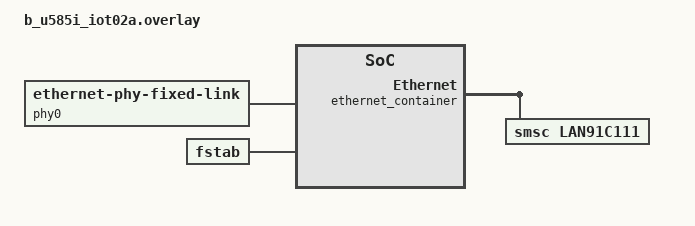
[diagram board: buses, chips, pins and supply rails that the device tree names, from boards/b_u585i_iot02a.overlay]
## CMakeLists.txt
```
# SPDX-License-Identifier: Apache-2.0

cmake_minimum_required(VERSION 3.20.0)

# Register OCRE as Zephyr extra module (must be before find_package)
get_filename_component(OCRE_BASE
    "${CMAKE_CURRENT_LIST_DIR}/../ocre-workspace/ocre-runtime"
    REALPATH)
list(APPEND ZEPHYR_EXTRA_MODULES ${OCRE_BASE})

find_package(Zephyr REQUIRED HINTS $ENV{ZEPHYR_BASE})
project(wasmbed)

target_sources(app PRIVATE
    src/main.c
    src/ocre_integration.c
    src/wasmbed_protocol.c
    src/network_handler.c
)

target_link_libraries(app PUBLIC OcreCore)
```

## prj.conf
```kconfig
# SPDX-License-Identifier: Apache-2.0
# Zephyr configuration for Wasmbed application
# Based on working dhcpv4_client sample

# Network stack (from dhcpv4_client - working configuration)
CONFIG_NETWORKING=y
CONFIG_NET_IPV4=y
CONFIG_NET_TCP=y
CONFIG_NET_SOCKETS=y
CONFIG_NET_DHCPV4=y
CONFIG_NET_L2_ETHERNET_MGMT=y
CONFIG_NET_MGMT=y
CONFIG_NET_MGMT_EVENT=y

# Random number generator (required for network stack)
CONFIG_TEST_RANDOM_GENERATOR=y
CONFIG_ENTROPY_GENERATOR=y

# Logging (from dhcpv4_client - working configuration)
CONFIG_NET_LOG=y
CONFIG_LOG=y
# Note: NOT using CONFIG_LOG_MODE_IMMEDIATE - this might cause issues

# Network shell (useful for debugging)
CONFIG_NET_SHELL=y

# TLS support (for Wasmbed)
CONFIG_MBEDTLS=y
CONFIG_MBEDTLS_BUILTIN=y
CONFIG_MBEDTLS_ENABLE_HEAP=y
CONFIG_NET_SOCKETS_SOCKOPT_TLS=y

# Enable ECDHE-ECDSA cipher suite (gateway now uses ECDSA P-256 certificate)
# Keep RSA enabled for compatibility during transition
CONFIG_MBEDTLS_KEY_EXCHANGE_RSA_ENABLED=y
CONFIG_MBEDTLS_KEY_EXCHANGE_ECDHE_RSA_ENABLED=y
CONFIG_MBEDTLS_KEY_EXCHANGE_ECDHE_ECDSA_ENABLED=y
CONFIG_MBEDTLS_ECDH_C=y
CONFIG_MBEDTLS_ECDSA_C=y
CONFIG_MBEDTLS_ECP_C=y
CONFIG_MBEDTLS_ECP_DP_SECP256R1_ENABLED=y
CONFIG_MBEDTLS_ECP_DP_SECP384R1_ENABLED=y
CONFIG_MBEDTLS_CIPHER_GCM_ENABLED=y
CONFIG_MBEDTLS_HASH_SHA384_ENABLED=y
CONFIG_MBEDTLS_HASH_SHA512_ENABLED=y
CONFIG_MBEDTLS_MAC_SHA384_ENABLED=y
CONFIG_MBEDTLS_MAC_SHA512_ENABLED=y

# Memory management
CONFIG_HEAP_MEM_POOL_SIZE=4096

# TLS heap for MbedTLS: RSA-2048 ServerKeyExchange verification needs ~22KB peak
# (SSL buffers 2*4096 + handshake overhead ~10KB, then RSA-2048 MPI ops ~12KB).
# 16KB caused MBEDTLS_ERR_MPI_ALLOC_FAILED; 32KB gives enough headroom.
CONFIG_MBEDTLS_HEAP_SIZE=32768

# Increase TLS record buffer: default 1500 is too small for RSA-2048 cert from
# Rustls gateway (cert ~1305 DER bytes + handshake overhead > 1500). Increasing
# to 4096 allows the combined Certificate+ServerKeyExchange record to be parsed.
CONFIG_MBEDTLS_SSL_MAX_CONTENT_LEN=4096

# Threading
CONFIG_MULTITHREADING=y

# Main stack size: 4KB needed for WAMR module instantiation (wasm_runtime_instantiate
# calls several layers of internal functions that overflow the 2KB default).
CONFIG_MAIN_STACK_SIZE=4096

# Increase TCP workqueue stack size for TLS ECDHE operations (default 1024 is too small)
CONFIG_NET_TCP_WORKQ_STACK_SIZE=4096

# UART for logging
CONFIG_SERIAL=y
CONFIG_UART_INTERRUPT_DRIVEN=y

# Device drivers
CONFIG_GPIO=y
CONFIG_I2C=y
CONFIG_SPI=y

# POSIX API disabled: struct timespec è già risolto con #include <time.h>
# in platform_internal.h (patch Zephyr 3.5). POSIX_API=y causa eof nei
# TLS handshake Zephyr perché ridefinisce le socket ops in modo incompatibile.
CONFIG_POSIX_API=n

# Enable file system layer so WAMR zephyr_file.c links (fs_stat, fs_open, etc.)
# WAMR WASI includes file ops even when only sockets are used at runtime.
CONFIG_FILE_SYSTEM=y

# Note: NOT disabling MPU - dhcpv4_client works with MPU enabled
# CONFIG_ARM_MPU=n  # Removed - dhcpv4_client works with MPU
# --- Mutual TLS and proof of possession -------------------------------------
# The device presents a client certificate signed by the fleet CA and verifies
# the gateway against that same CA. Three credentials are registered under one
# security tag (CA, own certificate, private key); see
# network_set_tls_credentials in src/network_handler.c.
CONFIG_TLS_CREDENTIALS=y
CONFIG_TLS_MAX_CREDENTIALS_NUMBER=4

# mbedtls_pk_sign needs an RNG for ECDSA, and PK_WRITE for the DER signature.
# SHA-256 and PK parsing come from the TLS profile already (MAC_SHA256 below,
# PK_PARSE_C via X509_CRT_PARSE_C in config-tls-generic.h).
CONFIG_MBEDTLS_PK_WRITE_C=y
CONFIG_MBEDTLS_CTR_DRBG_ENABLED=y
CONFIG_MBEDTLS_ENTROPY_ENABLED=y
CONFIG_MBEDTLS_MAC_SHA256_ENABLED=y

# RFC 6979 deterministic ECDSA nonce: no entropy source is registered with
# mbedTLS on this board, and under Renode the platform generator is the test
# generator. A predictable nonce would disclose the private key.
CONFIG_MBEDTLS_ECDSA_DETERMINISTIC=y
# Prerequisite of deterministic ECDSA: RFC 6979 derives the nonce with HMAC-DRBG.
CONFIG_MBEDTLS_HMAC_DRBG_ENABLED=y
```

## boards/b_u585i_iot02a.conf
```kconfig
# Renode board overlay — SMSC LAN91C111 (Network.SMC91X) Ethernet
# ETH_SMSC91X auto-selected via DT_HAS_SMSC_LAN91C111_ENABLED
# PHY_GENERIC_FIXED_LINK auto-selected via DT_HAS_ETHERNET_PHY_FIXED_LINK_ENABLED
CONFIG_NET_L2_ETHERNET=y
```

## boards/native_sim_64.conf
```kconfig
# SPDX-License-Identifier: Apache-2.0
# Wasmbed OCRE firmware — native_sim/native/64 (NSOS: host sockets, no TAP)

# ── native_sim platform ───────────────────────────────────────────────────────
CONFIG_COMMON_LIBC_MALLOC_ARENA_SIZE=10485760
CONFIG_UART_NATIVE_PTY_0_ON_STDINOUT=y
CONFIG_UART_NATIVE_PTY=y

# ── NSOS: bypass Zephyr net stack, use host Linux sockets directly ─────────────
CONFIG_ETH_NATIVE_TAP=n
CONFIG_NET_DRIVERS=y
CONFIG_NET_SOCKETS=y
CONFIG_NET_SOCKETS_OFFLOAD=y
CONFIG_NET_NATIVE_OFFLOADED_SOCKETS=y

# IPv6 DAD requires lower-level net interface access, not available via NSOS
CONFIG_NET_IPV6_DAD=n
CONFIG_NET_IPV6=n

# ── Memory: larger heap for native_sim (no MMU pressure) ──────────────────────
CONFIG_HEAP_MEM_POOL_SIZE=524288
CONFIG_MAIN_STACK_SIZE=65536
CONFIG_NET_TCP_WORKQ_STACK_SIZE=8192

# ── No DHCP: NSOS uses host networking directly, no IP config needed ───────────
CONFIG_NET_DHCPV4=n

# ── No board-specific HW drivers (not available on native_sim) ────────────────
CONFIG_GPIO=n
CONFIG_SPI=n
CONFIG_NET_L2_ETHERNET=n

# ── Disable unused STM32-specific drivers ─────────────────────────────────────
CONFIG_SERIAL=n
CONFIG_UART_INTERRUPT_DRIVEN=n
```

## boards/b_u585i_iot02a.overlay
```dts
/*
 * SPDX-License-Identifier: Apache-2.0
 *
 * DTS overlay for B-U585I-IOT02A — Renode emulation variant.
 * Replaces ISM43362 WiFi with SMSC LAN91C111 Ethernet (emulated by Renode
 * Network.SMC91X at 0x60000000) and adds OCRE LittleFS storage partition.
 *
 * Fixed-link PHY avoids MDIO bit-bang negotiation (not needed in simulation).
 * The smsc,lan91c111-mdio node must exist (driver always instantiates it),
 * but no PHY child is needed since we use ethernet-phy-fixed-link.
 *
 * Clock: use MSIS directly (no PLL) to avoid complex PLL emulation in Renode.
 * MSIS range=4 = 4 MHz; all prescalers = 1. PLL1 disabled.
 */

/* MSIS at 4 MHz as system clock — no PLL needed in simulation */
&clk_msis {
	status = "okay";
	msi-range = <4>;
};

&pll1 {
	status = "disabled";
};

&rcc {
	clocks = <&clk_msis>;
	clock-frequency = <DT_FREQ_M(4)>;
	ahb-prescaler = <1>;
	apb1-prescaler = <1>;
	apb2-prescaler = <1>;
	apb3-prescaler = <1>;
};

/*
 * Disable all peripherals not used in Renode simulation.
 * Only USART1 (console) and Ethernet (SMSC91X) are needed.
 * Disabling prevents driver init spin-loops on unmodeled registers.
 */
&spi1    { status = "disabled"; };  /* ISM43362 WiFi */
&usart3  { status = "disabled"; };  /* Arduino serial */
&uart4   { status = "disabled"; };  /* secondary UART */
&i2c1    { status = "disabled"; };  /* sensors I2C bus */
&i2c2    { status = "disabled"; };  /* sensors I2C bus */
&adc1    { status = "disabled"; };
&adc4    { status = "disabled"; };
&dac1    { status = "disabled"; };
&aes     { status = "disabled"; };
&die_temp { status = "disabled"; };
&rtc     { status = "disabled"; };
&iwdg    { status = "disabled"; };  /* watchdog: must be disabled to prevent reset */
&vref1   { status = "disabled"; };
&vbat4   { status = "disabled"; };
&timers3 { status = "disabled"; };
&timers4 { status = "disabled"; };
/* octospi1/2 and mx25lm51245 must remain enabled — octospi2 has IRQ 120 which sets
   CONFIG_NUM_IRQS; disabling it causes gen_isr_tables failure (IRQ 120 > max 94) */
/* &gpdma1 must remain enabled — same reason */

/*
 * SMSC LAN91C111 Ethernet — Renode Network.SMC91X @ 0x60000000.
 * Container provides MMIO base (both children use DT_PARENT for reg addr).
 * 0x60000000 is in the STM32U585 external memory range (FMC/OCTOSPI), unused.
 */
/ {
	ethernet_container: ethernet@60000000 {
		reg = <0x60000000 0x10000>;
		#address-cells = <1>;
		#size-cells = <1>;
		ranges = <0x0 0x60000000 0x10000>;

		lan91c111: ethernet {
			compatible = "smsc,lan91c111";
			interrupts = <72 0>;
			interrupt-parent = <&nvic>;
			status = "okay";
			phy-handle = <&phy0>;
		};

		/* MDIO node required by driver compilation even with fixed-link PHY */
		lan91_mdio: mdio {
			compatible = "smsc,lan91c111-mdio";
			status = "okay";
			#address-cells = <1>;
			#size-cells = <0>;
		};
	};

	/* Fixed-link PHY: always-up at 100BASE Full-Duplex, no MDIO needed */
	phy0: ethernet-phy-fixed-link {
		compatible = "ethernet-phy-fixed-link";
		status = "okay";
		default-speeds = "100BASE Full-Duplex";
	};
};

/* Flash partition table */
&flash0 {
    partitions {
        compatible = "fixed-partitions";
        #address-cells = <1>;
        #size-cells = <1>;

        boot_partition: partition@0 {
            label = "mcuboot";
            reg = <0x00000000 DT_SIZE_K(64)>;
            read-only;
        };

        slot0_partition: partition@10000 {
            label = "image-0";
            reg = <0x00010000 DT_SIZE_K(1728)>;
        };

        ocre_storage_partition: partition@1C0000 {
            label = "ocre-storage";
            reg = <0x001C0000 DT_SIZE_K(256)>;
        };
    };
};

/* Mount OCRE storage partition as LittleFS at /lfs/ocre */
/ {
    fstab {
        compatible = "zephyr,fstab";
        lfs0: lfs0 {
            compatible = "zephyr,fstab,littlefs";
            mount-point = "/lfs/ocre";
            partition = <&ocre_storage_partition>;
            read-size = <16>;
            prog-size = <16>;
            cache-size = <64>;
            lookahead-size = <32>;
            block-cycles = <512>;
        };
    };
};
```

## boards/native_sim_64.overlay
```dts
/*
 * SPDX-License-Identifier: Apache-2.0
 *
 * native_sim/native/64 overlay for Wasmbed OCRE firmware.
 * Enlarges flash/storage partition and auto-mounts LittleFS at /lfs.
 * OCRE creates /lfs/ocre subdirectory at runtime.
 */

&flash0 {
	reg = <0x0 DT_SIZE_M(32)>;
};

&storage_partition {
	reg = <0xfc000 DT_SIZE_M(16)>;
};

/ {
	fstab {
		compatible = "zephyr,fstab";
		lfs1: lfs1 {
			compatible = "zephyr,fstab,littlefs";
			read-size = <256>;
			prog-size = <256>;
			cache-size = <256>;
			lookahead-size = <256>;
			block-cycles = <512>;
			partition = <&storage_partition>;
			mount-point = "/lfs";
			automount;
		};
	};
};
```

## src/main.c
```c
/*
 * SPDX-License-Identifier: Apache-2.0
 * Copyright © 2025 Wasmbed contributors
 *
 * Wasmbed Zephyr Application — OCRE runtime on b_u585i_iot02a
 */

#include <zephyr/kernel.h>
#include <zephyr/logging/log.h>
#include <zephyr/net/net_if.h>
#include <zephyr/net/net_core.h>
#include <zephyr/net/net_mgmt.h>

#include "network_handler.h"
#include "ocre_integration.h"
#include "wasmbed_protocol.h"

LOG_MODULE_REGISTER(wasmbed_main, LOG_LEVEL_INF);

int main(void)
{
    printk("*** WASMBED MAIN START ***\n");
    LOG_INF("=== Wasmbed Zephyr Application Starting (OCRE) ===");

    if (network_init() != 0) {
        LOG_ERR("Network init failed — continuing without network");
    }

    if (ocre_integration_init() != 0) {
        LOG_ERR("OCRE runtime init failed");
        return 0;
    }

    if (wasmbed_protocol_init() != 0) {
        LOG_ERR("Wasmbed protocol init failed");
        return 0;
    }

    LOG_INF("=== Wasmbed OCRE Application Ready ===");

    while (1) {
        network_process();
        wasmbed_protocol_recv_and_handle(100);
        wasmbed_protocol_tick();
        k_sleep(K_MSEC(100));
    }
}
```

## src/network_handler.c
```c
/*
 * SPDX-License-Identifier: Apache-2.0
 * Copyright © 2025 Wasmbed contributors
 *
 * Network Handler Implementation
 * Uses Zephyr network stack (TCP/IP, TLS)
 */

#include "network_handler.h"
#include <zephyr/logging/log.h>
#include <zephyr/net/net_if.h>
#include <zephyr/net/net_core.h>
#include <zephyr/net/net_context.h>
#include <zephyr/net/socket.h>
#include <zephyr/net/net_event.h>
#include <zephyr/net/dhcpv4.h>
#include <zephyr/kernel.h>
#include <string.h>
#include <errno.h>

/* Use Zephyr socket API (zsock_*) instead of POSIX */
#include <zephyr/net/socket.h>
#include <zephyr/net/tls_credentials.h>

LOG_MODULE_REGISTER(network_handler, LOG_LEVEL_INF);

static bool network_initialized = false;
static int socket_fd = -1;
static struct net_if *net_iface = NULL;

/* Initialize network stack */
int network_init(void)
{
    if (network_initialized) {
        LOG_WRN("Network already initialized");
        return 0;
    }

    LOG_INF("Initializing network stack...");

    /* Get default network interface */
    /* Wait a bit for network interface to be available */
    int retries = 10;
    while (retries > 0) {
        net_iface = net_if_get_default();
        if (net_iface != NULL) {
            break;
        }
        LOG_WRN("Network interface not available yet, retrying... (%d)", retries);
        k_sleep(K_MSEC(500));
        retries--;
    }
    
    if (net_iface == NULL) {
        LOG_ERR("No network interface available after retries");
        /* Don't fail - allow firmware to continue without network */
        LOG_WRN("Continuing without network interface");
        return -1;
    }

    /* Bring interface up */
    if (!net_if_is_up(net_iface)) {
        net_if_up(net_iface);
        LOG_INF("Network interface brought up");
    }

    /* Start DHCP client if available */
#if defined(CONFIG_NET_DHCPV4)
    net_dhcpv4_start(net_iface);
    LOG_INF("DHCP client started");

    /* Wait for DHCP to assign an IP address (up to 120 seconds) */
    {
        int dhcp_wait = 120;
        bool got_ip = false;
        while (dhcp_wait > 0) {
            struct net_if_addr_ipv4 *unicast;
            struct net_if_ipv4 *ipv4 = net_iface->config.ip.ipv4;
            if (ipv4 != NULL) {
                for (int i = 0; i < NET_IF_MAX_IPV4_ADDR; i++) {
                    unicast = &ipv4->unicast[i];
                    if (unicast->ipv4.is_used &&
                        unicast->ipv4.addr_state == NET_ADDR_PREFERRED &&
                        unicast->ipv4.addr_type == NET_ADDR_DHCP) {
                        got_ip = true;
                        break;
                    }
                }
            }
            if (got_ip) {
                break;
            }
            k_sleep(K_SECONDS(1));
            dhcp_wait--;
            if (dhcp_wait % 10 == 0) {
                LOG_INF("Waiting for DHCP... (%d s remaining)", dhcp_wait);
            }
        }
        if (got_ip) {
            LOG_INF("DHCP address acquired");
        } else {
            LOG_WRN("DHCP timeout - proceeding without IP");
        }
    }
#else
    /* Static IP configuration would go here */
    LOG_INF("Using static IP configuration (DHCP disabled)");
    k_sleep(K_SECONDS(2));
#endif

    network_initialized = true;
    LOG_INF("Network stack initialized");

    return 0;
}

/* Process network events */
void network_process(void)
{
    if (!network_initialized) {
        return;
    }

    /* Network event processing is handled by Zephyr network stack automatically
     * This function can be used for custom event handling if needed */
    
    /* Check if interface is still up */
    if (net_iface != NULL && !net_if_is_up(net_iface)) {
        LOG_WRN("Network interface is down");
    }
}

/* Connect to gateway */
int network_connect(const char *host, uint16_t port)
{
    if (!network_initialized) {
        LOG_ERR("Network not initialized");
        return -1;
    }

    LOG_INF("Connecting to gateway: %s:%u", host, port);

    /* Close existing socket if any */
    if (socket_fd >= 0) {
        zsock_close(socket_fd);
        socket_fd = -1;
    }

    /* Create TCP socket */
    socket_fd = zsock_socket(AF_INET, SOCK_STREAM, IPPROTO_TCP);
    if (socket_fd < 0) {
        LOG_ERR("Failed to create socket: %d", errno);
        return -1;
    }

    /* Setup address structure */
    struct sockaddr_in addr;
    memset(&addr, 0, sizeof(addr));
    addr.sin_family = AF_INET;
    addr.sin_port = htons(port);

    /* Resolve hostname to IP (simplified - assumes IP address string) */
    if (net_addr_pton(AF_INET, host, &addr.sin_addr) < 0) {
        LOG_ERR("Invalid IP address: %s", host);
        zsock_close(socket_fd);
        socket_fd = -1;
        return -1;
    }

    /* Connect to server */
    if (zsock_connect(socket_fd, (struct sockaddr *)&addr, sizeof(addr)) < 0) {
        LOG_ERR("Failed to connect: %d", errno);
        zsock_close(socket_fd);
        socket_fd = -1;
        return -1;
    }

    LOG_INF("Connected to gateway: %s:%u", host, port);

    return 0;
}

/* Connect to gateway with TLS */
int network_connect_tls(const char *host, uint16_t port)
{
    if (!network_initialized) {
        LOG_ERR("Network not initialized");
        return -1;
    }

    LOG_INF("Connecting to gateway with TLS: %s:%u", host, port);

    /* Close existing socket if any */
    if (socket_fd >= 0) {
        zsock_close(socket_fd);
        socket_fd = -1;
    }

    /* Create TLS socket */
    socket_fd = zsock_socket(AF_INET, SOCK_STREAM, IPPROTO_TLS_1_2);
    if (socket_fd < 0) {
        LOG_ERR("Failed to create TLS socket: %d", errno);
        return -1;
    }

    /* Skip server certificate verification (no CA cert loaded) */
    int verify = TLS_PEER_VERIFY_NONE;
    if (zsock_setsockopt(socket_fd, SOL_TLS, TLS_PEER_VERIFY, &verify, sizeof(verify)) < 0) {
        LOG_WRN("Failed to set TLS_PEER_VERIFY_NONE: %d", errno);
    }

    /* Set TLS hostname for SNI (required by some servers even with PEER_VERIFY_NONE) */
    if (zsock_setsockopt(socket_fd, SOL_TLS, TLS_HOSTNAME, host, strlen(host)) < 0) {
        LOG_WRN("Failed to set TLS_HOSTNAME (SNI): %d", errno);
    }

    /* Set send/connect timeout to 30 seconds to avoid blocking indefinitely */
    struct zsock_timeval tv = { .tv_sec = 30, .tv_usec = 0 };
    if (zsock_setsockopt(socket_fd, SOL_SOCKET, SO_SNDTIMEO, &tv, sizeof(tv)) < 0) {
        LOG_WRN("Failed to set SO_SNDTIMEO: %d", errno);
    }
    if (zsock_setsockopt(socket_fd, SOL_SOCKET, SO_RCVTIMEO, &tv, sizeof(tv)) < 0) {
        LOG_WRN("Failed to set SO_RCVTIMEO: %d", errno);
    }

    /* Setup address structure */
    struct sockaddr_in addr;
    memset(&addr, 0, sizeof(addr));
    addr.sin_family = AF_INET;
    addr.sin_port = htons(port);

    /* Resolve hostname to IP */
    if (net_addr_pton(AF_INET, host, &addr.sin_addr) < 0) {
        LOG_ERR("Invalid IP address: %s", host);
        zsock_close(socket_fd);
        socket_fd = -1;
        return -1;
    }

    /* Connect to server (TLS handshake happens during connect) */
    if (zsock_connect(socket_fd, (struct sockaddr *)&addr, sizeof(addr)) < 0) {
        LOG_ERR("Failed to connect: %d", errno);
        zsock_close(socket_fd);
        socket_fd = -1;
        return -1;
    }

    LOG_INF("Connected to gateway with TLS: %s:%u", host, port);

    return 0;
}

/* Send data via network */
int network_send(const uint8_t *data, uint32_t data_len)
{
    if (socket_fd < 0) {
        LOG_ERR("Socket not connected");
        return -1;
    }

    ssize_t sent = zsock_send(socket_fd, data, data_len, 0);
    if (sent < 0) {
        LOG_ERR("Failed to send data: %d", errno);
        return -1;
    }

    if (sent != (ssize_t)data_len) {
        LOG_WRN("Partial send: %zd/%u bytes", sent, data_len);
    }

    return 0;
}

/* Receive data from network */
int network_receive(uint8_t *buffer, uint32_t buffer_len, uint32_t *received_len)
{
    if (socket_fd < 0) {
        LOG_ERR("Socket not connected");
        return -1;
    }

    ssize_t received = zsock_recv(socket_fd, buffer, buffer_len, 0);
    if (received < 0) {
        if (errno == EAGAIN || errno == EWOULDBLOCK) {
            /* No data available */
            *received_len = 0;
            return 0;
        }
        LOG_ERR("Failed to receive data: %d", errno);
        return -1;
    }

    *received_len = (uint32_t)received;
    return 0;
}

/* Poll socket for incoming data; returns >0 if readable, 0 on timeout, <0 on error */
int network_poll_readable(int timeout_ms)
{
    if (socket_fd < 0) {
        return -1;
    }
    struct zsock_pollfd pfd;
    pfd.fd     = socket_fd;
    pfd.events = ZSOCK_POLLIN;
    pfd.revents = 0;
    return zsock_poll(&pfd, 1, timeout_ms);
}

/* Receive a framed message: 4-byte BE length header + payload.
 * Uses individual recv calls for header and payload. */
int network_receive_framed(uint8_t *buffer, uint32_t buffer_len, uint32_t *received_len)
{
    if (socket_fd < 0) {
        return -1;
    }

    *received_len = 0;

    /* Read 4-byte length header — single blocking recv */
    ssize_t r = zsock_recv(socket_fd, buffer, 4, 0);
    if (r <= 0) {
        return -1;
    }
    /* Handle partial header read by accumulating */
    uint32_t hdr_got = (uint32_t)r;
    while (hdr_got < 4) {
        r = zsock_recv(socket_fd, buffer + hdr_got, 4 - hdr_got, 0);
        if (r <= 0) {
            return -1;
        }
        hdr_got += (uint32_t)r;
    }

    uint32_t payload_len = ((uint32_t)buffer[0] << 24) |
                           ((uint32_t)buffer[1] << 16) |
                           ((uint32_t)buffer[2] <<  8) |
                           ((uint32_t)buffer[3]);

    if (4 + payload_len > buffer_len) {
        LOG_ERR("Frame too large: %u bytes", payload_len);
        return -1;
    }

    /* Read payload — accumulate until complete */
    uint32_t got = 0;
    while (got < payload_len) {
        r = zsock_recv(socket_fd, buffer + 4 + got, payload_len - got, 0);
        if (r <= 0) {
            return -1;
        }
        got += (uint32_t)r;
    }

    *received_len = 4 + payload_len;
    return 0;
}
```

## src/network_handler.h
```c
/*
 * SPDX-License-Identifier: Apache-2.0
 * Copyright © 2025 Wasmbed contributors
 *
 * Network Handler
 * TCP/IP and TLS communication
 */

#ifndef NETWORK_HANDLER_H
#define NETWORK_HANDLER_H

#include <stdint.h>

/* Initialize network stack */
int network_init(void);

/* Process network events */
void network_process(void);

/* Connect to gateway */
int network_connect(const char *host, uint16_t port);

/* Connect to gateway with TLS */
int network_connect_tls(const char *host, uint16_t port);

/* Send data via network */
int network_send(const uint8_t *data, uint32_t data_len);

/* Receive data from network */
int network_receive(uint8_t *buffer, uint32_t buffer_len, uint32_t *received_len);

/* Receive a length-prefixed framed message (4-byte BE header + CBOR payload).
 * buffer receives the full frame (header + payload), buffer_len is the max size.
 * received_len is set to total bytes read (header + payload). */
int network_receive_framed(uint8_t *buffer, uint32_t buffer_len, uint32_t *received_len);

#endif /* NETWORK_HANDLER_H */
```

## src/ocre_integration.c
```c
/*
 * SPDX-License-Identifier: Apache-2.0
 * Copyright © 2025 Wasmbed contributors
 *
 * OCRE Integration Layer — wraps ocre_initialize / ocre_create_context /
 * ocre_context_create_container / ocre_container_start / … API.
 *
 * Flow per WASM deployment received over the network:
 *  1. Write the raw WASM bytes to LittleFS: <workdir>/images/<id>.wasm
 *  2. ocre_context_create_container(ctx, "<id>.wasm", "wamr/wasip1", …)
 *  3. ocre_container_start(container)
 */

#include "ocre_integration.h"

#include <zephyr/logging/log.h>
#include <zephyr/kernel.h>
#include <ocre/ocre.h>
#include <fcntl.h>
#include <string.h>
#include <stdio.h>
#include <sys/stat.h>
#include <errno.h>

/* High-resolution timer: µs wall-clock time.
 * On native_sim (CONFIG_ARCH_POSIX): use get_host_us_time() from Zephyr's native
 * simulator timer model, which calls clock_gettime(CLOCK_MONOTONIC_RAW) on the
 * host OS directly — bypasses Zephyr's POSIX shim that returns simulated tick time.
 * On real HW: fall back to k_uptime_get_32() with ms→µs conversion (1ms resolution). */
#if defined(CONFIG_ARCH_POSIX)
/* Declared in zephyr/scripts/native_simulator/native/src/timer_model.c */
extern uint64_t get_host_us_time(void);
static inline uint64_t _timing_us(void)
{
    return get_host_us_time();
}
#else
static inline uint64_t _timing_us(void)
{
    return (uint64_t)k_uptime_get_32() * 1000ULL;  /* ms → µs, 1ms resolution on HW */
}
#endif

LOG_MODULE_REGISTER(ocre_integration, LOG_LEVEL_INF);

#define OCRE_WORKDIR  "/lfs/ocre"
#define IMAGES_SUBDIR "/images"
#define WASM_RUNTIME  "wamr/wasip1"
#define MAX_CONTAINERS 4

typedef struct {
    ocre_handle_t handle;
    struct ocre_container *container;
    char image_name[64];
    bool in_use;
} container_slot_t;

static struct ocre_context *g_ocre_ctx;
static container_slot_t slots[MAX_CONTAINERS];
static bool runtime_initialized;
static uint32_t next_handle = 1U;

/* Write raw bytes to <workdir>/images/<name>.wasm on LittleFS. */
static int write_wasm_image(const char *name, const uint8_t *data, uint32_t size)
{
    /* Ensure images directory exists */
    char dir[sizeof(OCRE_WORKDIR) + sizeof(IMAGES_SUBDIR) + 1];
    snprintf(dir, sizeof(dir), "%s%s", OCRE_WORKDIR, IMAGES_SUBDIR);
    (void)mkdir(dir, 0755);

    char path[sizeof(dir) + 64];
    snprintf(path, sizeof(path), "%s/%s", dir, name);

    int fd = open(path, O_CREAT | O_WRONLY | O_TRUNC, 0644);
    if (fd < 0) {
        LOG_ERR("open(%s) failed: %d", path, errno);
        return -errno;
    }

    ssize_t written = write(fd, data, size);
    close(fd);

    if (written != (ssize_t)size) {
        LOG_ERR("write(%s) short: %d/%u", path, (int)written, size);
        return -EIO;
    }

    LOG_DBG("WASM image written to %s (%u bytes)", path, size);
    return 0;
}

int ocre_integration_init(void)
{
    if (runtime_initialized) {
        return 0;
    }

    LOG_INF("Initializing OCRE runtime...");

    int ret = ocre_initialize(NULL);
    if (ret != 0) {
        LOG_ERR("ocre_initialize failed: %d", ret);
        return ret;
    }

    g_ocre_ctx = ocre_create_context(OCRE_WORKDIR);
    if (!g_ocre_ctx) {
        LOG_ERR("ocre_create_context failed");
        ocre_deinitialize();
        return -ENOMEM;
    }

    memset(slots, 0, sizeof(slots));
    runtime_initialized = true;
    LOG_INF("OCRE runtime ready (workdir: %s)", OCRE_WORKDIR);
    return 0;
}

ocre_handle_t ocre_integration_deploy(const uint8_t *wasm_bytes, uint32_t wasm_size)
{
    if (!runtime_initialized || !g_ocre_ctx) {
        LOG_ERR("OCRE not initialized");
        return OCRE_INVALID_HANDLE;
    }

    if (!wasm_bytes || wasm_size == 0U) {
        LOG_ERR("Invalid WASM payload");
        return OCRE_INVALID_HANDLE;
    }

    int slot = -1;
    for (int i = 0; i < MAX_CONTAINERS; i++) {
        if (!slots[i].in_use) {
            slot = i;
            break;
        }
    }
    if (slot < 0) {
        LOG_ERR("No free container slots");
        return OCRE_INVALID_HANDLE;
    }

    /* Build a unique image filename based on handle counter */
    char img_name[64];
    snprintf(img_name, sizeof(img_name), "app_%u.wasm", next_handle);

    /* --- Phase 1: LittleFS write --- */
    uint64_t t_lfs_start = _timing_us();
    int ret = write_wasm_image(img_name, wasm_bytes, wasm_size);
    uint64_t t_lfs_end = _timing_us();
    if (ret != 0) {
        LOG_ERR("Failed to write WASM image: %d", ret);
        return OCRE_INVALID_HANDLE;
    }
    LOG_INF("TIMING lfs_write_us=%llu wasm_bytes=%u",
            (unsigned long long)(t_lfs_end - t_lfs_start), (unsigned)wasm_size);

    /* --- Phase 2: WAMR load (ocre_context_create_container) --- */
    LOG_INF("Creating OCRE container from %s (%u bytes)", img_name, wasm_size);
    uint64_t t_load_start = _timing_us();
    struct ocre_container *c = ocre_context_create_container(
        g_ocre_ctx,
        img_name,
        WASM_RUNTIME,
        NULL,   /* auto-generate container ID */
        true,   /* detached — run in background */
        NULL,   /* no extra args */
        -1, -1, -1);
    uint64_t t_load_end = _timing_us();

    if (!c) {
        LOG_ERR("ocre_context_create_container failed");
        return OCRE_INVALID_HANDLE;
    }
    LOG_INF("TIMING wamr_load_us=%llu", (unsigned long long)(t_load_end - t_load_start));

    /* --- Phase 3: WAMR start (ocre_container_start) --- */
    uint64_t t_start_start = _timing_us();
    ret = ocre_container_start(c);
    uint64_t t_start_end = _timing_us();
    if (ret != 0) {
        LOG_ERR("ocre_container_start failed: %d", ret);
        (void)ocre_context_remove_container(g_ocre_ctx, c);
        return OCRE_INVALID_HANDLE;
    }
    LOG_INF("TIMING wamr_start_us=%llu", (unsigned long long)(t_start_end - t_start_start));

    slots[slot].handle    = next_handle++;
    slots[slot].container = c;
    strncpy(slots[slot].image_name, img_name, sizeof(slots[slot].image_name) - 1);
    slots[slot].in_use    = true;

    LOG_INF("OCRE container running (handle %u, image %s)", slots[slot].handle, img_name);
    return slots[slot].handle;
}

int ocre_integration_stop(ocre_handle_t handle)
{
    if (handle == OCRE_INVALID_HANDLE || !runtime_initialized) {
        return -EINVAL;
    }

    for (int i = 0; i < MAX_CONTAINERS; i++) {
        if (slots[i].in_use && slots[i].handle == handle) {
            LOG_INF("Stopping OCRE container (handle %u)", handle);
            (void)ocre_container_kill(slots[i].container);
            (void)ocre_context_remove_container(g_ocre_ctx, slots[i].container);
            slots[i].in_use = false;
            return 0;
        }
    }

    LOG_WRN("Container handle %u not found", handle);
    return -ENOENT;
}

bool ocre_integration_is_running(ocre_handle_t handle)
{
    if (handle == OCRE_INVALID_HANDLE || !runtime_initialized) {
        return false;
    }
    for (int i = 0; i < MAX_CONTAINERS; i++) {
        if (slots[i].in_use && slots[i].handle == handle) {
            ocre_container_status_t st = ocre_container_get_status(slots[i].container);
            return st == OCRE_CONTAINER_STATUS_RUNNING;
        }
    }
    return false;
}

void ocre_integration_cleanup(void)
{
    if (!runtime_initialized) {
        return;
    }

    for (int i = 0; i < MAX_CONTAINERS; i++) {
        if (slots[i].in_use) {
            (void)ocre_container_kill(slots[i].container);
            (void)ocre_context_remove_container(g_ocre_ctx, slots[i].container);
            slots[i].in_use = false;
        }
    }

    if (g_ocre_ctx) {
        ocre_destroy_context(g_ocre_ctx);
        g_ocre_ctx = NULL;
    }

    ocre_deinitialize();
    runtime_initialized = false;
    LOG_INF("OCRE runtime cleaned up");
}
```

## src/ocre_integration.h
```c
/*
 * SPDX-License-Identifier: Apache-2.0
 * Copyright © 2025 Wasmbed contributors
 *
 * OCRE Integration Layer — wraps ocre_container_runtime_* API
 */

#ifndef OCRE_INTEGRATION_H
#define OCRE_INTEGRATION_H

#include <stdint.h>
#include <stdbool.h>

/* Opaque handle for a deployed WASM container */
typedef uint32_t ocre_handle_t;
#define OCRE_INVALID_HANDLE 0U

/* Initialize the OCRE container runtime */
int ocre_integration_init(void);

/* Load and start a WASM module via OCRE.
 * Returns an opaque handle on success, OCRE_INVALID_HANDLE on failure. */
ocre_handle_t ocre_integration_deploy(const uint8_t *wasm_bytes, uint32_t wasm_size);

/* Stop and destroy a running container */
int ocre_integration_stop(ocre_handle_t handle);

/* Returns true if the handle refers to a running container */
bool ocre_integration_is_running(ocre_handle_t handle);

/* Cleanup all containers and the runtime */
void ocre_integration_cleanup(void);

#endif /* OCRE_INTEGRATION_H */
```

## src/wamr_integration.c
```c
/*
 * SPDX-License-Identifier: Apache-2.0
 * Copyright © 2025 Wasmbed contributors
 *
 * WAMR Integration Layer Implementation
 */

#include "wamr_integration.h"
#include <zephyr/logging/log.h>
#include "wasm_export.h"
#include <string.h>

LOG_MODULE_REGISTER(wamr_integration, LOG_LEVEL_INF);

/* WAMR runtime state */
static bool wamr_initialized = false;

/* WAMR heap buffer: pool passato a wasm_runtime_full_init (Alloc_With_Pool).
 * Con WAMR_BUILD_LIBC_WASI=1, WASI aggiunge ~10-15 KB di overhead interno
 * (fd table, environ, args) rispetto al baseline senza WASI.
 * 128 KB: linear memory (1 page=64KB) + exec stack (16KB) + instance overhead (~10KB).
 * Balanced against MAX_WASM_SIZE reduction in wasmbed_protocol.c: net BSS change ~0. */
#define WAMR_HEAP_SIZE (128 * 1024)
static uint8_t wamr_heap_buffer[WAMR_HEAP_SIZE] __aligned(8);

/* Module registry */
#define MAX_MODULES 16
#define MAX_INSTANCES 16

typedef struct {
    uint32_t id;
    wasm_module_t module;
    bool in_use;
} module_entry_t;

typedef struct {
    uint32_t id;
    wasm_module_inst_t instance;
    wasm_exec_env_t exec_env;
    bool in_use;
} instance_entry_t;

static module_entry_t modules[MAX_MODULES];
static instance_entry_t instances[MAX_INSTANCES];
static uint32_t next_module_id = 1;
static uint32_t next_instance_id = 1;

/* Initialize WAMR runtime */
int wamr_init(void)
{
    if (wamr_initialized) {
        LOG_WRN("WAMR already initialized");
        return 0;
    }

    LOG_INF("Initializing WAMR runtime...");
    
    RuntimeInitArgs init_args;
    memset(&init_args, 0, sizeof(RuntimeInitArgs));
    
    /* Use pool memory allocator with static buffer */
    init_args.mem_alloc_type = Alloc_With_Pool;
    init_args.mem_alloc_option.pool.heap_buf = wamr_heap_buffer;
    init_args.mem_alloc_option.pool.heap_size = WAMR_HEAP_SIZE;
    
    /* No native symbols for now */
    init_args.native_symbols = NULL;
    init_args.n_native_symbols = 0;
    
    if (!wasm_runtime_full_init(&init_args)) {
        LOG_ERR("Failed to initialize WAMR runtime");
        return -1;
    }

    /* Initialize module and instance registries */
    memset(modules, 0, sizeof(modules));
    memset(instances, 0, sizeof(instances));

    wamr_initialized = true;
    LOG_INF("WAMR runtime initialized");
    
    return 0;
}

/* Load WASM module from bytes */
int wamr_load_module(const uint8_t *wasm_bytes, uint32_t wasm_size, uint32_t *module_id)
{
    if (!wamr_initialized) {
        LOG_ERR("WAMR not initialized");
        return -1;
    }

    if (wasm_bytes == NULL || wasm_size == 0 || module_id == NULL) {
        LOG_ERR("Invalid parameters");
        return -1;
    }

    LOG_INF("Loading WASM module (size: %u bytes)...", wasm_size);

    /* Find free module slot */
    int slot = -1;
    for (int i = 0; i < MAX_MODULES; i++) {
        if (!modules[i].in_use) {
            slot = i;
            break;
        }
    }
    
    if (slot < 0) {
        LOG_ERR("No free module slots");
        return -1;
    }

    /* Error buffer for WAMR */
    static char error_buf[128];
    error_buf[0] = '\0';

    /* Load WASM module */
    wasm_module_t module = wasm_runtime_load((uint8_t *)wasm_bytes, wasm_size, 
                                            error_buf, sizeof(error_buf));
    
    if (module == NULL) {
        LOG_ERR("Failed to load WASM module: %s", error_buf);
        return -1;
    }

    /* Store module in registry */
    modules[slot].id = next_module_id++;
    modules[slot].module = module;
    modules[slot].in_use = true;

    *module_id = modules[slot].id;
    LOG_INF("WASM module loaded (module_id: %u)", *module_id);

    return 0;
}

/* Instantiate WASM module */
int wamr_instantiate(uint32_t module_id, uint32_t *instance_id)
{
    if (!wamr_initialized) {
        LOG_ERR("WAMR not initialized");
        return -1;
    }

    LOG_INF("Instantiating WASM module (module_id: %u)...", module_id);

    /* Find module */
    wasm_module_t module = NULL;
    int module_slot = -1;
    for (int i = 0; i < MAX_MODULES; i++) {
        if (modules[i].in_use && modules[i].id == module_id) {
            module = modules[i].module;
            module_slot = i;
            break;
        }
    }
    
    if (module == NULL) {
        LOG_ERR("Module not found: %u", module_id);
        return -1;
    }

    /* Find free instance slot */
    int slot = -1;
    for (int i = 0; i < MAX_INSTANCES; i++) {
        if (!instances[i].in_use) {
            slot = i;
            break;
        }
    }
    
    if (slot < 0) {
        LOG_ERR("No free instance slots");
        return -1;
    }

    uint32_t stack_size = 16 * 1024;
    uint32_t heap_size = 0;

    /* Error buffer for WAMR */
    static char error_buf[128];
    error_buf[0] = '\0';

#if WASM_ENABLE_LIBC_WASI != 0
    /* Set minimal WASI args: no dirs, no env, argv = {"app"}.
     * Required so WAMR can resolve proc_exit / fd_write / environ_sizes_get.
     * Without this call the module may trap on first WASI import call. */
    /* No dir preopens: Zephyr's FS layer rejects "/" (no real mount),
     * and WASI modules that only use proc_exit/fd_write don't need them. */
    static const char *wasi_env_list[]  = {NULL};
    static const char *wasi_argv_list[] = {"app"};
    wasm_runtime_set_wasi_args(module,
                               NULL, 0,
                               NULL, 0,
                               wasi_env_list, 0,
                               (char **)wasi_argv_list, 1);
    LOG_DBG("WASI args set on module %u", module_id);
#endif

    /* Instantiate WASM module */
    wasm_module_inst_t instance = wasm_runtime_instantiate(module, stack_size,
                                                           heap_size, error_buf,
                                                           sizeof(error_buf));
    
    if (instance == NULL) {
        LOG_ERR("Failed to instantiate WASM module: %s", error_buf);
        return -1;
    }

    /* Create execution environment */
    wasm_exec_env_t exec_env = wasm_runtime_create_exec_env(instance, stack_size);
    if (exec_env == NULL) {
        LOG_ERR("Failed to create execution environment");
        wasm_runtime_deinstantiate(instance);
        return -1;
    }

    /* Store instance in registry */
    instances[slot].id = next_instance_id++;
    instances[slot].instance = instance;
    instances[slot].exec_env = exec_env;
    instances[slot].in_use = true;

    *instance_id = instances[slot].id;
    LOG_INF("WASM module instantiated (instance_id: %u)", *instance_id);

    return 0;
}

/* Execute WASM function */
int wamr_call_function(uint32_t instance_id, const char *function_name,
                       uint32_t *args, uint32_t args_count, uint32_t *results, uint32_t results_count)
{
    if (!wamr_initialized) {
        LOG_ERR("WAMR not initialized");
        return -1;
    }

    LOG_INF("Calling WASM function: %s (instance_id: %u)", function_name, instance_id);

    /* Find instance */
    wasm_module_inst_t instance = NULL;
    wasm_exec_env_t exec_env = NULL;
    for (int i = 0; i < MAX_INSTANCES; i++) {
        if (instances[i].in_use && instances[i].id == instance_id) {
            instance = instances[i].instance;
            exec_env = instances[i].exec_env;
            break;
        }
    }
    
    if (instance == NULL || exec_env == NULL) {
        LOG_ERR("Instance not found: %u", instance_id);
        return -1;
    }

    /* Find function */
    wasm_function_inst_t function = wasm_runtime_lookup_function(instance, function_name);
    if (function == NULL) {
        LOG_ERR("Function not found: %s", function_name);
        return -1;
    }

    /* Call WASM function - wasm_runtime_call_wasm takes argc and argv array */
    /* Note: Results are stored in the WASM stack and can be read using 
     * wasm_runtime_get_function_ret_value or similar APIs if needed */
    if (!wasm_runtime_call_wasm(exec_env, function, args_count, args)) {
        const char *exception = wasm_runtime_get_exception(instance);
        if (exception) {
            LOG_ERR("WASM exception: %s", exception);
        } else {
            LOG_ERR("Failed to call WASM function: %s", function_name);
        }
        return -1;
    }

    /* TODO: Read return values from WASM stack if results_count > 0
     * For now, results parameter is ignored as WAMR stores results differently
     * This can be enhanced later if needed for specific use cases */

    LOG_INF("WASM function executed: %s", function_name);

    return 0;
}

/*
 * Call the WASI _start entry point of a module instance.
 * WASI command modules export "_start" (not "main" or "run").
 * Falls back to looking for "run" for non-WASI modules.
 * Returns 0 on success (including proc_exit(0)), -1 on error.
 */
int wamr_call_wasi_start(uint32_t instance_id)
{
    if (!wamr_initialized) {
        LOG_ERR("WAMR not initialized");
        return -1;
    }

    wasm_module_inst_t instance = NULL;
    wasm_exec_env_t exec_env = NULL;
    for (int i = 0; i < MAX_INSTANCES; i++) {
        if (instances[i].in_use && instances[i].id == instance_id) {
            instance = instances[i].instance;
            exec_env = instances[i].exec_env;
            break;
        }
    }

    if (instance == NULL || exec_env == NULL) {
        LOG_ERR("Instance not found: %u", instance_id);
        return -1;
    }

#if WASM_ENABLE_LIBC_WASI != 0
    /* Prefer WASI-aware start: handles proc_exit correctly */
    wasm_function_inst_t start = wasm_runtime_lookup_wasi_start_function(instance);
    if (start != NULL) {
        LOG_INF("Calling WASI _start (instance %u)", instance_id);
        if (!wasm_runtime_call_wasm(exec_env, start, 0, NULL)) {
            /* proc_exit() always surfaces as "wasi proc exit" exception in WAMR.
             * Distinguish success (exit_code == 0) from failure via the WASI API. */
            const char *ex = wasm_runtime_get_exception(instance);
            if (ex != NULL && strstr(ex, "wasi proc exit") != NULL) {
                uint32_t exit_code = wasm_runtime_get_wasi_exit_code(instance);
                wasm_runtime_clear_exception(instance);
                if (exit_code == 0) {
                    LOG_INF("WASI module exited cleanly (proc_exit 0)");
                    return 0;
                }
                LOG_ERR("WASI module exited with error (proc_exit %u)", exit_code);
                return -1;
            }
            LOG_ERR("WASI _start failed: %s", ex ? ex : "(unknown)");
            return -1;
        }
        return 0;
    }
#endif

    /* Fallback: non-WASI module exporting "run" */
    wasm_function_inst_t run_fn = wasm_runtime_lookup_function(instance, "run");
    if (run_fn != NULL) {
        LOG_INF("Calling 'run' (instance %u)", instance_id);
        if (!wasm_runtime_call_wasm(exec_env, run_fn, 0, NULL)) {
            LOG_ERR("'run' failed: %s", wasm_runtime_get_exception(instance));
            return -1;
        }
        return 0;
    }

    LOG_ERR("No entry point found (_start / run) in instance %u", instance_id);
    return -1;
}

/* Process WAMR runtime (call periodically) */
void wamr_process(void)
{
    if (!wamr_initialized) {
        return;
    }

    /* TODO: Process WAMR runtime events if needed */
}

/* Cleanup WAMR runtime */
void wamr_cleanup(void)
{
    if (!wamr_initialized) {
        return;
    }

    LOG_INF("Cleaning up WAMR runtime...");

    /* Cleanup all instances */
    for (int i = 0; i < MAX_INSTANCES; i++) {
        if (instances[i].in_use) {
            if (instances[i].exec_env) {
                wasm_runtime_destroy_exec_env(instances[i].exec_env);
            }
            if (instances[i].instance) {
                wasm_runtime_deinstantiate(instances[i].instance);
            }
            instances[i].in_use = false;
        }
    }

    /* Cleanup all modules */
    for (int i = 0; i < MAX_MODULES; i++) {
        if (modules[i].in_use) {
            if (modules[i].module) {
                wasm_runtime_unload(modules[i].module);
            }
            modules[i].in_use = false;
        }
    }

    /* Destroy WAMR runtime */
    wasm_runtime_destroy();

    wamr_initialized = false;
    LOG_INF("WAMR runtime cleaned up");
}
```

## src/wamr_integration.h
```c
/*
 * SPDX-License-Identifier: Apache-2.0
 * Copyright © 2025 Wasmbed contributors
 *
 * WAMR Integration Layer
 * Interface for WebAssembly Micro Runtime
 */

#ifndef WAMR_INTEGRATION_H
#define WAMR_INTEGRATION_H

#include <stdint.h>
#include <stdbool.h>

/* Initialize WAMR runtime */
int wamr_init(void);

/* Load WASM module from bytes */
int wamr_load_module(const uint8_t *wasm_bytes, uint32_t wasm_size, uint32_t *module_id);

/* Instantiate WASM module */
int wamr_instantiate(uint32_t module_id, uint32_t *instance_id);

/* Execute WASM function by name */
int wamr_call_function(uint32_t instance_id, const char *function_name,
                       uint32_t *args, uint32_t args_count, uint32_t *results, uint32_t results_count);

/* Call WASI _start entry point (falls back to "run" for non-WASI modules) */
int wamr_call_wasi_start(uint32_t instance_id);

/* Process WAMR runtime (call periodically) */
void wamr_process(void);

/* Cleanup WAMR runtime */
void wamr_cleanup(void);

#endif /* WAMR_INTEGRATION_H */
```

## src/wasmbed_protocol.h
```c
/*
 * SPDX-License-Identifier: Apache-2.0
 * Copyright © 2025 Wasmbed contributors
 *
 * Wasmbed Protocol Handler
 * Handles communication with Wasmbed gateway
 */

#ifndef WASMBED_PROTOCOL_H
#define WASMBED_PROTOCOL_H

#include <stdint.h>

/* Initialize Wasmbed protocol handler */
int wasmbed_protocol_init(void);

/* Handle incoming message from gateway */
int wasmbed_protocol_handle_message(const uint8_t *data, uint32_t data_len);

/* Send message to gateway */
int wasmbed_protocol_send_message(const uint8_t *data, uint32_t data_len);

/* Send periodic heartbeat (ClientMessage::Heartbeat = CBOR [0]) to keep TLS connection alive */
int wasmbed_protocol_send_heartbeat(void);

/* Call periodically from main loop; sends heartbeat every HEARTBEAT_INTERVAL_SEC */
void wasmbed_protocol_tick(void);

#endif /* WASMBED_PROTOCOL_H */
```
